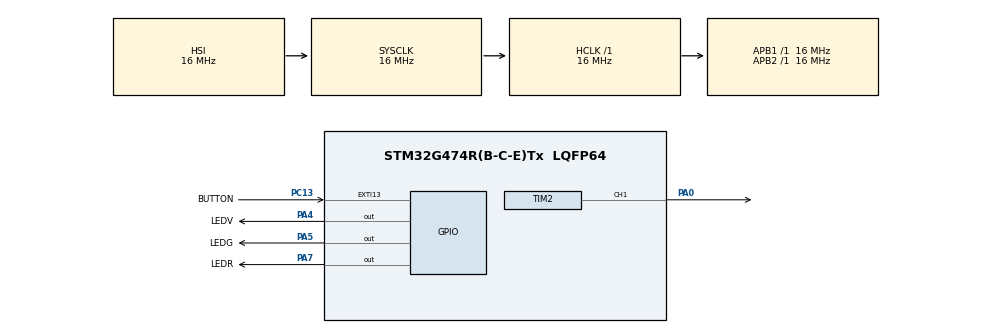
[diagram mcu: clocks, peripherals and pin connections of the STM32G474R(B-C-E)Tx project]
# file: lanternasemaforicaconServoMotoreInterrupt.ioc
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Mcu.Family=STM32G4
Mcu.Name=STM32G474R(B-C-E)Tx
Mcu.Package=LQFP64
NVIC.EXTI15_10_IRQn=true\:0\:0\:false\:false\:true\:true\:true\:true
NVIC.PriorityGroup=NVIC_PRIORITYGROUP_4
NVIC.TIM2_IRQn=true\:0\:0\:false\:false\:true\:true\:true\:true
NVIC.TIM6_DAC_IRQn=true\:0\:0\:false\:false\:true\:true\:true\:true
PA0.Signal=S_TIM2_CH1
PA4.GPIO_Label=LEDV
PA4.Signal=GPIO_Output
PA5.GPIO_Label=LEDG
PA5.Signal=GPIO_Output
PA7.GPIO_Label=LEDR
PA7.Signal=GPIO_Output
PC13.GPIO_Label=BUTTON
PC13.GPIO_ModeDefaultEXTI=GPIO_MODE_IT_FALLING
PC13.Signal=GPXTI13
ProjectManager.HeapSize=0x200
ProjectManager.StackSize=0x400
ProjectManager.TargetToolchain=STM32CubeIDE
RCC.AHBFreq_Value=16000000
RCC.APB1Freq_Value=16000000
RCC.APB1TimFreq_Value=16000000
RCC.APB2Freq_Value=16000000
RCC.APB2TimFreq_Value=16000000
RCC.CortexFreq_Value=16000000
RCC.EXTERNAL_CLOCK_VALUE=12288000
RCC.HCLKFreq_Value=16000000
RCC.HSE_VALUE=8000000
RCC.HSI48_VALUE=48000000
RCC.HSI_VALUE=16000000
RCC.LSE_VALUE=32768
RCC.SYSCLKFreq_VALUE=16000000
RCC.USBFreq_Value=64000000
RCC.VCOOutputFreq_Value=128000000
SH.S_TIM2_CH1.0=TIM2_CH1,PWM Generation1 CH1
TIM2.Channel-PWM\ Generation1\ CH1=TIM_CHANNEL_1
TIM2.PeriodNoDither=999
TIM2.Prescaler=319
TIM2.PulseNoDither_1=0
TIM6.PeriodNoDither=4999
TIM6.Prescaler=15999
VP_SYS_VS_DBSignals.Mode=DisableDeadBatterySignals
VP_TIM2_VS_ClockSourceINT.Mode=Internal
VP_TIM6_VS_ClockSourceINT.Mode=Enable_Timer
board=custom

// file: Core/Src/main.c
/* USER CODE BEGIN Header */
/**
  ******************************************************************************
  * @file           : main.c
  * @brief          : Main program body
  ******************************************************************************
  * @attention
  *
  * Copyright (c) 2026 STMicroelectronics.
  * All rights reserved.
  *
  * This software is licensed under terms that can be found in the LICENSE file
  * in the root directory of this software component.
  * If no LICENSE file comes with this software, it is provided AS-IS.
  *
  ******************************************************************************
  */
/* USER CODE END Header */
#include "main.h"
#include "tim.h"
#include "gpio.h"

/* USER CODE BEGIN Includes */
#include "timer.h"
#include "fsm_logic.h"

/* USER CODE END Includes */

/* USER CODE BEGIN PD */
#define clock_frequency (16000000)
/* USER CODE END PD */

/* USER CODE BEGIN PV */
timer_t servo_timer;
led_t led_rosso;
led_t led_giallo;
led_t led_verde;
button_t button;
timer_t timer;

/* USER CODE END PV */

void SystemClock_Config(void);

int main(void)
{

  /* MCU Configuration--------------------------------------------------------*/

  /* Reset of all peripherals, Initializes the Flash interface and the Systick. */
  HAL_Init();

  /* Configure the system clock */
  SystemClock_Config();

  /* Initialize all configured peripherals */
  MX_GPIO_Init();
  MX_TIM2_Init();
  MX_TIM6_Init();
  /* USER CODE BEGIN 2 */
  if(led_init(&led_rosso, LEDR_GPIO_Port, LEDR_Pin, LED_INIT_STATE_OFF)!=LED_OK){
    return -1;
  }
  if(led_init(&led_giallo, LEDG_GPIO_Port, LEDG_Pin, LED_INIT_STATE_OFF)!=LED_OK){
    return -1;
  }
  if(led_init(&led_verde, LEDV_GPIO_Port, LEDV_Pin, LED_INIT_STATE_OFF)!=LED_OK){
    return -1;
  }
  if(button_init(&button, BUTTON_GPIO_Port, BUTTON_Pin, BUTTON_INIT_STATE_OFF)!=BUTTON_OK){
    return -1;
  }
  if(timer_init(&timer, &htim6, clock_frequency)!=TIMER_OK){
    return -1;
  }
  if(timer_init(&servo_timer, &htim2, clock_frequency)!=TIMER_OK){
    return -1;
  }
  if(timer_start_pwm(&servo_timer, TIM_CHANNEL_1)!=TIMER_OK){
    return -1;
  }

  //dopo aver inizializzato tutti i componenti, inizializzo la FSM
  if(FSM_init(&led_rosso, &led_giallo, &led_verde, &button, &timer, &servo_timer , FSM_CYCLE_DURATION)!=FSM_OK){
    return -1;
  }

  /* USER CODE END 2 */

  /* Infinite loop */
  /* USER CODE BEGIN WHILE */
  while (1)
  {
    if(FSM_step()!=FSM_OK){
      return -1;
    }

    /* USER CODE END WHILE */

  }
}

void SystemClock_Config(void)
{
  RCC_OscInitTypeDef RCC_OscInitStruct = {0};
  RCC_ClkInitTypeDef RCC_ClkInitStruct = {0};

  /** Configure the main internal regulator output voltage
  */
  HAL_PWREx_ControlVoltageScaling(PWR_REGULATOR_VOLTAGE_SCALE1);

  /** Initializes the RCC Oscillators according to the specified parameters
  * in the RCC_OscInitTypeDef structure.
  */
  RCC_OscInitStruct.OscillatorType = RCC_OSCILLATORTYPE_HSI;
  RCC_OscInitStruct.HSIState = RCC_HSI_ON;
  RCC_OscInitStruct.HSICalibrationValue = RCC_HSICALIBRATION_DEFAULT;
  RCC_OscInitStruct.PLL.PLLState = RCC_PLL_NONE;
  if (HAL_RCC_OscConfig(&RCC_OscInitStruct) != HAL_OK)
  {
    Error_Handler();
  }

  /** Initializes the CPU, AHB and APB buses clocks
  */
  RCC_ClkInitStruct.ClockType = RCC_CLOCKTYPE_HCLK|RCC_CLOCKTYPE_SYSCLK
                              |RCC_CLOCKTYPE_PCLK1|RCC_CLOCKTYPE_PCLK2;
  RCC_ClkInitStruct.SYSCLKSource = RCC_SYSCLKSOURCE_HSI;
  RCC_ClkInitStruct.AHBCLKDivider = RCC_SYSCLK_DIV1;
  RCC_ClkInitStruct.APB1CLKDivider = RCC_HCLK_DIV1;
  RCC_ClkInitStruct.APB2CLKDivider = RCC_HCLK_DIV1;

  if (HAL_RCC_ClockConfig(&RCC_ClkInitStruct, FLASH_LATENCY_0) != HAL_OK)
  {
    Error_Handler();
  }
}

void Error_Handler(void)
{
  __disable_irq();
  while (1)
  {
  }
}
